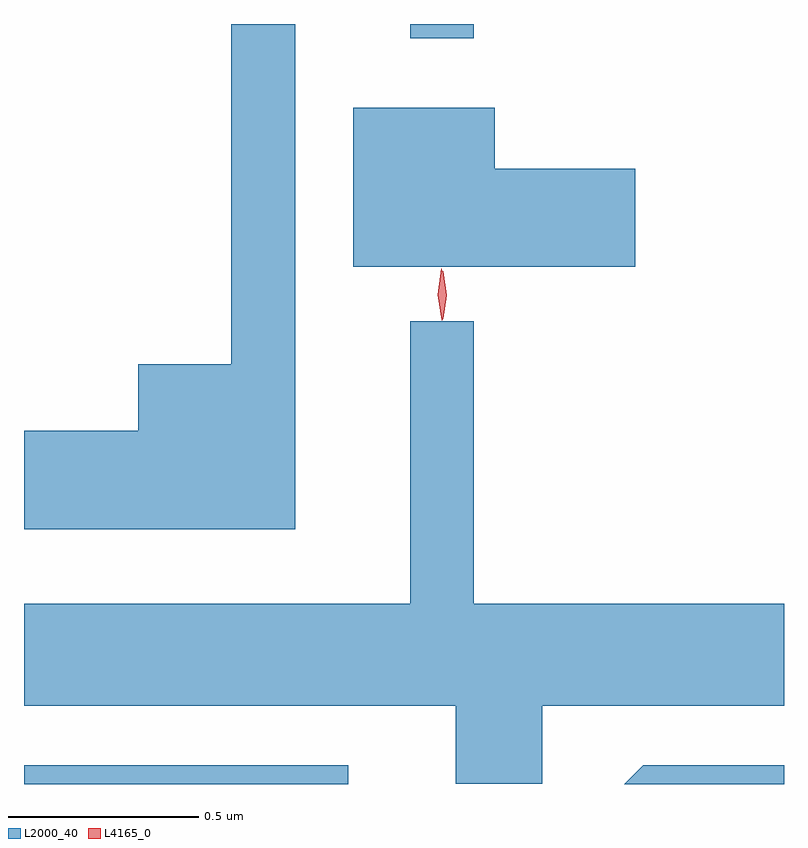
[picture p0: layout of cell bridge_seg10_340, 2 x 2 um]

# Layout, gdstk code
import gdstk
lib = gdstk.Library(unit=1e-6, precision=1e-09)
def R(c, l, rs):  # rectangles x0, y0, x1, y1
    for r in rs: c.add(gdstk.rectangle(r[:2], r[2:], *l))
def P(c, l, *ps):  # polygons
    for p in ps: c.add(gdstk.Polygon(p, *l))
L2000_40 = (2000, 40)
L4165_0 = (4165, 0)

bridge_seg10_340 = lib.new_cell('bridge_seg10_340')
R(bridge_seg10_340, L2000_40, [(1390.485,2189.19,1391.338,2189.239), (1391.501,2191.153,1391.669,2191.19)])
P(bridge_seg10_340, L2000_40, [(1391.199,2191.19),(1391.031,2191.19),(1391.031,2190.294),(1390.786,2190.294),(1390.786,2190.119),(1390.485,2190.119),(1390.485,2189.861),(1391.199,2189.861)],
  [(1392.094,2190.809),(1391.724,2190.809),(1391.724,2190.969),(1391.351,2190.969),(1391.351,2190.551),(1392.094,2190.551)],
  [(1391.849,2189.396),(1392.485,2189.396),(1392.485,2189.664),(1391.669,2189.664),(1391.669,2190.408),(1391.501,2190.408),(1391.501,2189.664),(1390.485,2189.664),(1390.485,2189.396),(1391.621,2189.396),(1391.621,2189.191),(1391.849,2189.191)],
  [(1392.485,2189.239),(1392.114,2189.239),(1392.065,2189.19),(1392.485,2189.19)])
P(bridge_seg10_340, L4165_0, [(1391.584,2190.41),(1391.574,2190.478),(1391.583,2190.546),(1391.584,2190.546),(1391.584,2190.546),(1391.594,2190.478),(1391.586,2190.41),(1391.585,2190.41)],
  [(1391.587,2190.413),(1391.586,2190.414),(1391.577,2190.476),(1391.586,2190.539),(1391.587,2190.54),(1391.588,2190.539),(1391.597,2190.476),(1391.588,2190.414)])

lib.write_gds('bridge_seg10_340.gds')
